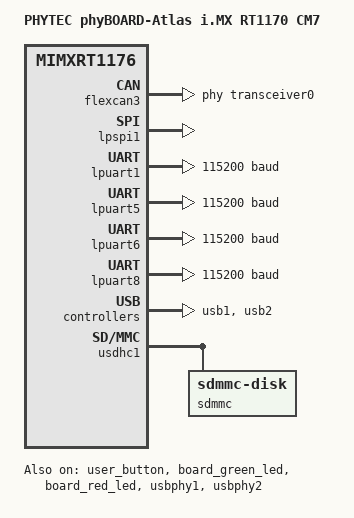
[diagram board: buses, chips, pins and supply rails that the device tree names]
/*
 * Copyright 2024, PHYTEC America, LLC
 *
 * SPDX-License-Identifier: Apache-2.0
 */

/dts-v1/;

#include <phytec/phycore_rt1170_mimxrt1176_cm7.dtsi>
#include "phyboard_atlas.dtsi"

/ {
	model = "PHYTEC phyBOARD-Atlas i.MX RT1170 CM7";
	compatible = "phytec,phyboard_atlas";

	chosen {
		zephyr,console = &lpuart1;
		zephyr,shell-uart = &lpuart1;
		zephyr,canbus = &flexcan3;
	};
};

&user_button {
	status = "okay";
};

&board_green_led {
	status = "okay";
};

&board_red_led {
	status = "okay";
};

&flexcan3 {
	status = "okay";
	phys = <&transceiver0>;
};

&lpspi1 {
	dmas = <&edma0 0 36>, <&edma0 1 37>;
	dma-names = "rx", "tx";
	status = "okay";
};

&edma0 {
	status = "okay";
};

&lpuart1 {
	status = "okay";
	current-speed = <115200>;
};

&lpuart5 {
	status = "okay";
	current-speed = <115200>;
};

&lpuart6 {
	status = "okay";
	current-speed = <115200>;
};

&lpuart8 {
	status = "okay";
	current-speed = <115200>;
};

zephyr_udc0: &usb1 {
	status = "okay";
	phy_handle = <&usbphy1>;
};

&usbphy1 {
	status = "okay";
	tx-d-cal = <7>;
	tx-cal-45-dp-ohms = <6>;
	tx-cal-45-dm-ohms = <6>;
};

zephyr_udc1: &usb2 {
	status = "okay";
	phy_handle = <&usbphy2>;
};

&usbphy2 {
	status = "okay";
	tx-d-cal = <7>;
	tx-cal-45-dp-ohms = <6>;
	tx-cal-45-dm-ohms = <6>;
};

&usdhc1 {
	status = "okay";
	detect-dat3;
	sdmmc {
		compatible = "zephyr,sdmmc-disk";
		disk-name = "SD";
		status = "okay";
	};
	no-1-8-v;
};
